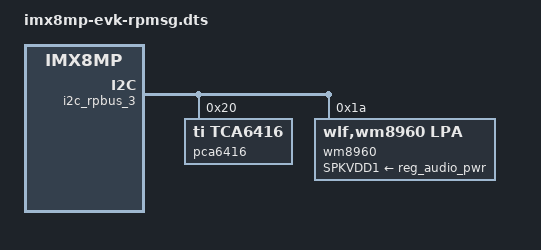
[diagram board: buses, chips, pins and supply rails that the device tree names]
// SPDX-License-Identifier: (GPL-2.0 OR MIT)
/*
 * Copyright 2020 NXP
 */

/dts-v1/;

#include "imx8mp-evk.dts"

/ {
	aliases {
		i2c0 = &i2c1;
		i2c1 = &i2c2;
		i2c2 = &i2c_rpbus_3;
	};

	reserved-memory {
		#address-cells = <2>;
		#size-cells = <2>;
		ranges;

		m4_reserved: m4@80000000 {
			no-map;
			reg = <0 0x80000000 0 0x1000000>;
		};

		vdev0vring0: vdev0vring0@55000000 {
			reg = <0 0x55000000 0 0x8000>;
			no-map;
		};

		vdev0vring1: vdev0vring1@55008000 {
			reg = <0 0x55008000 0 0x8000>;
			no-map;
		};

		vdevbuffer: vdevbuffer@55400000 {
			compatible = "shared-dma-pool";
			reg = <0 0x55400000 0 0x100000>;
			no-map;
		};

		rsc_table: rsc-table@550ff000 {
			reg = <0 0x550ff000 0 0x1000>;
			no-map;
		};

		audio_reserved: audio@81000000 {
			compatible = "shared-dma-pool";
			no-map;
			reg = <0 0x81000000 0 0x10000000>;
		};

		micfil_reserved: mic_rpmsg@91000000 {
			compatible = "shared-dma-pool";
			no-map;
			reg = <0 0x91000000 0 0x100000>;
		};
	};

	sound-wm8960 {
		/delete-property/ audio-codec;
		status = "disabled";
	};

	sound-micfil {
		status = "disabled";
	};

	rpmsg_audio: rpmsg_audio {
		compatible = "fsl,imx8mp-rpmsg-audio";
		model = "wm8960-audio";
		fsl,rpmsg-channel-name = "rpmsg-audio-channel";
		fsl,enable-lpa;
		fsl,rpmsg-out;
		fsl,rpmsg-in;
		assigned-clocks = <&clk IMX8MP_CLK_SAI3>;
		assigned-clock-parents = <&clk IMX8MP_AUDIO_PLL1_OUT>;
		assigned-clock-rates = <12288000>;
		clocks = <&audio_blk_ctrl IMX8MP_CLK_AUDIOMIX_SAI3_IPG>,
			 <&audio_blk_ctrl IMX8MP_CLK_AUDIOMIX_SAI3_MCLK1>,
			 <&audio_blk_ctrl IMX8MP_CLK_AUDIOMIX_SDMA3_ROOT>,
			 <&clk IMX8MP_AUDIO_PLL1_OUT>,
			 <&clk IMX8MP_AUDIO_PLL2_OUT>;
		clock-names = "ipg", "mclk", "dma", "pll8k", "pll11k";
		audio-codec = <&wm8960>;
		memory-region = <&audio_reserved>;
		power-domains = <&audiomix_pd>;
		audio-routing =
			"LINPUT1", "MICB",
			"LINPUT3", "MICB";
		status = "okay";
	};

	rpmsg_micfil: rpmsg_micfil {
		compatible = "fsl,imx8mp-rpmsg-audio";
		model = "micfil-audio";
		fsl,rpmsg-channel-name = "rpmsg-micfil-channel";
		fsl,enable-lpa;
		fsl,rpmsg-in;
		assigned-clocks = <&clk IMX8MP_CLK_PDM>;
		assigned-clock-parents = <&clk IMX8MP_AUDIO_PLL1_OUT>;
		assigned-clock-rates = <196608000>;
		clocks = <&audio_blk_ctrl IMX8MP_CLK_AUDIOMIX_PDM_IPG>,
			 <&audio_blk_ctrl IMX8MP_CLK_AUDIOMIX_PDM_SEL>,
			 <&audio_blk_ctrl IMX8MP_CLK_AUDIOMIX_SDMA3_ROOT>,
			 <&clk IMX8MP_AUDIO_PLL1_OUT>,
			 <&clk IMX8MP_AUDIO_PLL2_OUT>;
		clock-names = "ipg", "mclk", "dma", "pll8k", "pll11k";
		memory-region = <&micfil_reserved>;
		power-domains = <&audiomix_pd>;
		status = "okay";
	};

	imx8mp-cm7 {
		compatible = "fsl,imx8mn-cm7";
		rsc-da = <0x55000000>;
		clocks = <&clk IMX8MP_CLK_M7_DIV>,
			 <&audio_blk_ctrl IMX8MP_CLK_AUDIOMIX_AUDPLL_ROOT>;
		clock-names = "core", "audio";
		mbox-names = "tx", "rx", "rxdb";
		mboxes = <&mu 0 1
			  &mu 1 1
			  &mu 3 1>;
		memory-region = <&vdevbuffer>, <&vdev0vring0>, <&vdev0vring1>, <&rsc_table>;
		status = "okay";
		fsl,startup-delay-ms = <500>;
	};
};

/*
 * ATTENTION: M7 may use IPs like below
 * ECSPI0/ECSPI2, FLEXCAN, GPIO1/GPIO5, GPT1, I2C3, I2S3, UART4,
 * PWM4, SDMA1/SDMA2
 */
&ecspi2 {
	status = "disabled";
};

&flexcan1 {
	status = "disabled";
};

&flexspi {
	status = "disabled";
};

/delete-node/ &i2c3;

&i2c_rpbus_3 {
	compatible = "fsl,i2c-rpbus";
	#address-cells = <1>;
	#size-cells = <0>;
	status = "okay";

	pca6416: gpio@20 {
		compatible = "ti,tca6416";
		reg = <0x20>;
		gpio-controller;
		#gpio-cells = <2>;
	};

	ov5640_1: ov5640_mipi@3c {
		compatible = "ovti,ov5640";
		reg = <0x3c>;
		pinctrl-names = "default";
		pinctrl-0 = <&pinctrl_csi0_pwn>, <&pinctrl_csi0_rst>;
		clocks = <&clk IMX8MP_CLK_IPP_DO_CLKO2>;
		clock-names = "xclk";
		assigned-clocks = <&clk IMX8MP_CLK_IPP_DO_CLKO2>;
		assigned-clock-parents = <&clk IMX8MP_CLK_24M>;
		assigned-clock-rates = <24000000>;
		csi_id = <0>;
		powerdown-gpios = <&gpio4 1 GPIO_ACTIVE_HIGH>;
		reset-gpios = <&gpio4 0 GPIO_ACTIVE_LOW>;
		mclk = <24000000>;
		mclk_source = <0>;
		mipi_csi;
		status = "disabled";

		port {
			ov5640_mipi_1_ep: endpoint {
				remote-endpoint = <&mipi_csi1_ep>;
				data-lanes = <1 2>;
				clock-lanes = <0>;
			};
		};
	};

	wm8960: codec@1a {
		compatible = "wlf,wm8960,lpa";
		reg = <0x1a>;
		wlf,shared-lrclk;
		SPKVDD1-supply = <&reg_audio_pwr>;
	};
};

&pwm4{
	status = "disabled";
};

&sai3 {
	status = "disabled";
};

&micfil {
	status = "disabled";
};

&sdma3{
	status = "disabled";
};

&uart3 {
    status = "disabled";
};

&uart4 {
	status = "disabled";
};
